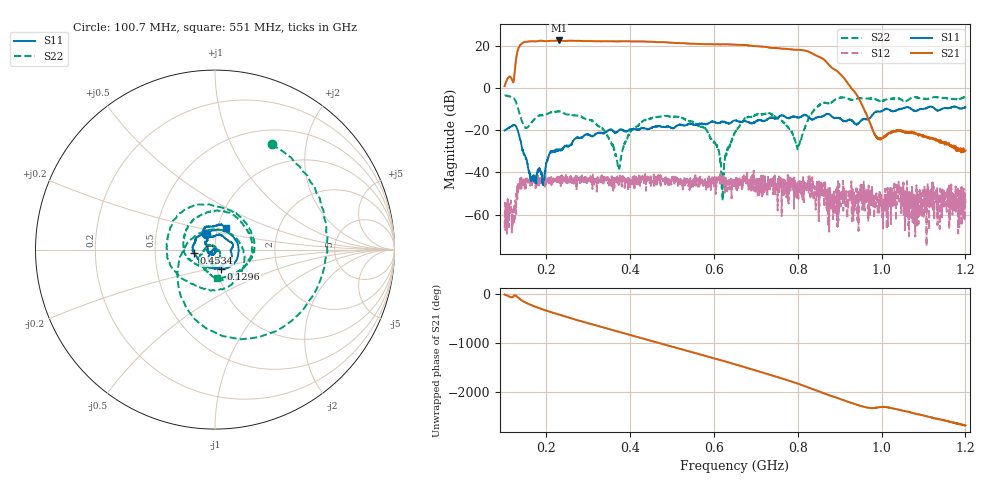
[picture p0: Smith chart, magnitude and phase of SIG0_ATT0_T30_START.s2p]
# Hz S DB R 50
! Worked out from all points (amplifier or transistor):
!   1601 points, 100 MHz to 1.2 GHz, reference 50 ohm
!   highest |S21| = 22.5 dB at 229.2 MHz (marker M1)
!   |S21| within 3 dB of that: 134.7 MHz to 721.7 MHz (586.9 MHz wide, 137 % of centre)
!   unconditionally stable (mu >= 1): start of sweep to end of sweep
!   at 282.9 MHz: K = 4.76, MAG = 22.5 dB, |S12| = -42.2 dB
!   at 650 MHz: K = 6.28, MAG = 20.7 dB, |S12| = -42.8 dB
!   at 1.2 GHz: K = 4301.06, MAG = -26.9 dB, |S12| = -54.6 dB
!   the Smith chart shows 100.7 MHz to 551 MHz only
!   S11 on the Smith chart (normalised r, x): 100.7 MHz: 0.89, +0.16; 129.6 MHz: 1.04, -0.22; 453.4 MHz: 0.79, -0.03; 551 MHz: 1.10, +0.27
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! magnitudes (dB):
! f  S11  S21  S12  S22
! 100 MHz  -20.1  0.9  -66.3  -3.6
! 100.7 MHz  -20.0  1.3  -57.0  -3.5
! 129.6 MHz  -19.1  16.4  -46.7  -7.9
! 166 MHz  -42.8  22.2  -44.4  -16.0
! 229.2 MHz  -29.3  22.5  -43.1  -11.1
! 283.6 MHz  -23.7  22.3  -45.1  -13.5
! 336.5 MHz  -21.4  22.1  -43.9  -19.9
! 372.2 MHz  -20.3  22.1  -45.8  -37.3
! 401.8 MHz  -19.5  22.1  -43.8  -20.5
! 453.4 MHz  -18.6  21.9  -44.0  -14.1
! 467.1 MHz  -18.1  21.8  -43.3  -13.6
! 551 MHz  -17.3  21.0  -42.9  -16.1
! 606 MHz  -16.5  20.7  -43.7  -26.7
! 619.8 MHz  -15.9  20.6  -45.2  -44.9
! 650 MHz  -15.4  20.5  -42.8  -21.0
! 731.1 MHz  -14.3  19.1  -43.5  -11.9
! 799.9 MHz  -13.9  18.1  -45.9  -27.6
! 833.6 MHz  -14.9  16.5  -50.0  -11.8
! 912.6 MHz  -15.8  4.1  -52.4  -4.6
! 988.2 MHz  -11.2  -23.6  -53.2  -5.6
! 1.017 GHz  -10.1  -21.2  -55.0  -5.1
! 1.2 GHz  -9.1  -29.6  -54.6  -4.0
